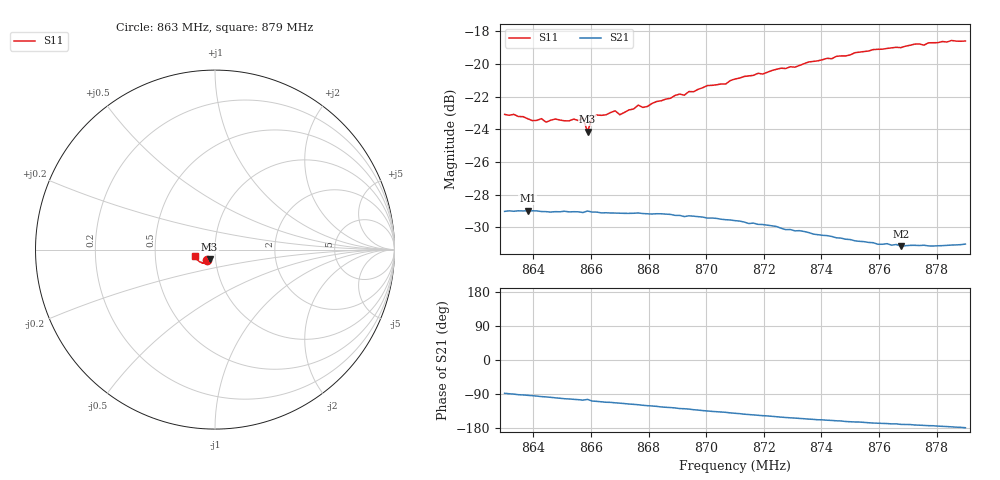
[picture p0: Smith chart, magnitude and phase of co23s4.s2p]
# HZ S RI R 50
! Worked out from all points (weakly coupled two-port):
!   101 points, 863 MHz to 879 MHz, reference 50 ohm
!   highest |S21| = -28.99 dB at 863.8 MHz (marker M1); lowest = -31.2 dB at 876.76 MHz (marker M2)
!   lowest |S11| = -24.2 dB at 865.88 MHz (marker M3), VSWR 1.13, Z = 46.8 - j5.1 ohm
!   |S11| at or under -10 dB: start of sweep to end of sweep
!   S12 and S22 are empty: the file has one direction only
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8.63e8  -0.0432 -0.0552  0.00135 -0.0354  0 0  0 0
8.638e8  -0.0401 -0.0549  -0.00198 -0.0355  0 0  0 0
8.6428e8  -0.0385 -0.0561  -0.00407 -0.0351  0 0  0 0
8.6444e8  -0.0372 -0.0549  -0.00456 -0.035  0 0  0 0
8.6476e8  -0.0369 -0.0569  -0.006 -0.0348  0 0  0 0
8.6556e8  -0.0355 -0.0569  -0.00891 -0.0341  0 0  0 0
8.6572e8  -0.034 -0.0594  -0.00963 -0.0337  0 0  0 0
8.6588e8  -0.03 -0.0542  -0.00854 -0.0344  0 0  0 0
8.6604e8  -0.0342 -0.0593  -0.0111 -0.0334  0 0  0 0
8.662e8  -0.0351 -0.0603  -0.0115 -0.0333  0 0  0 0
8.6684e8  -0.0344 -0.0631  -0.0137 -0.0322  0 0  0 0
8.67e8  -0.0337 -0.0613  -0.0142 -0.0319  0 0  0 0
8.6764e8  -0.0357 -0.0657  -0.0165 -0.0309  0 0  0 0
8.678e8  -0.0344 -0.065  -0.0171 -0.0303  0 0  0 0
8.6844e8  -0.0373 -0.0676  -0.0194 -0.0289  0 0  0 0
8.7004e8  -0.0443 -0.0736  -0.0236 -0.0241  0 0  0 0
8.7068e8  -0.0465 -0.0733  -0.0248 -0.0223  0 0  0 0
8.71e8  -0.0494 -0.0751  -0.0256 -0.021  0 0  0 0
8.7372e8  -0.0693 -0.0745  -0.0277 -0.0119  0 0  0 0
8.7644e8  -0.0941 -0.0608  -0.0273 -0.00551  0 0  0 0
8.7676e8  -0.0961 -0.0579  -0.0273 -0.00483  0 0  0 0
8.79e8  -0.1114 -0.0376  -0.0281 -0.00063  0 0  0 0
